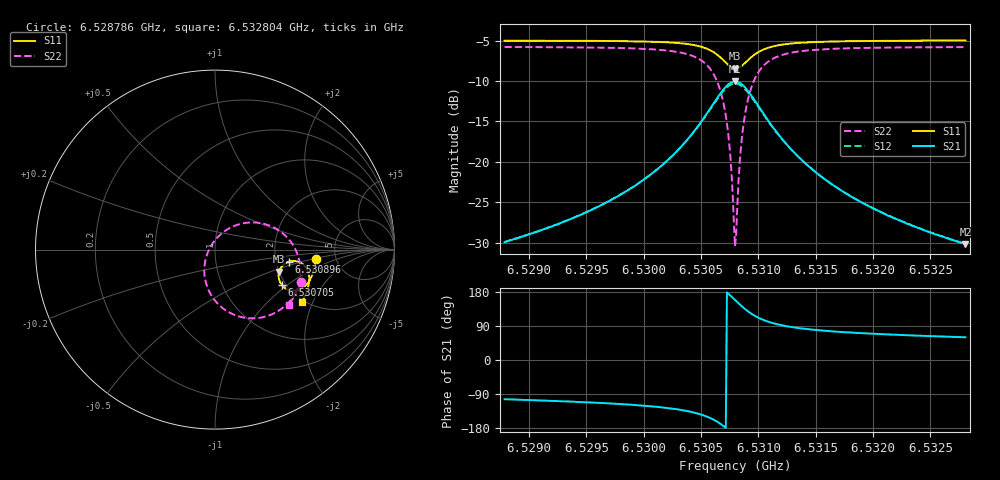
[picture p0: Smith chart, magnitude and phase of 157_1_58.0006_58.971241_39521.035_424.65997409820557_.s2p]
#  HZ  S  RI  R  50.00
! Rohde & Schwarz Vector Network Analyzer
! Rohde-Schwarz,ZNB20-2Port,1311601062101988,3.16
! Created: UTC 3/21/2024, 12:57:16 AM
! freq[Hz]  re:S11  im:S11  re:S21  im:S21  re:S12  im:S12  re:S22  im:S22
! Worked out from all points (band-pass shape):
!   401 points, 6.528786 GHz to 6.532804 GHz, reference 50 ohm
!   highest |S21| = -10.05 dB at 6.530795 GHz (marker M1); lowest = -30.2 dB at 6.532804 GHz (marker M2)
!   |S21| within 3 dB of the highest: 6.530595 GHz to 6.530997 GHz (401.8 kHz wide, 0.00615 % of centre)
!   lowest |S11| = -8.4 dB at 6.530795 GHz (marker M3), VSWR 2.22, Z = 100 - j28.9 ohm
!   |S11| at or under -10 dB: nowhere
!   |S22| runs from -30.4 to -5.8 dB; largest |S21 - S12| = 0.013
!   S11 on the Smith chart (normalised r, x): 6.528786 GHz: 3.49, -0.53; 6.530705 GHz: 1.90, -0.90; 6.530896 GHz: 2.36, -0.38; 6.532804 GHz: 1.95, -1.66
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6.5287859e9  0.5606 -0.0518  -0.00744 -0.031  -0.00815 -0.0309  0.4814 -0.1813
6.529459e9  0.5512 -0.1086  -0.0169 -0.0442  -0.0183 -0.0439  0.4492 -0.2441
6.5298407e9  0.5401 -0.1448  -0.0298 -0.0583  -0.0313 -0.0575  0.4149 -0.2893
6.5301321e9  0.524 -0.1771  -0.0515 -0.0761  -0.0536 -0.0745  0.3654 -0.3334
6.5303631e9  0.4973 -0.2077  -0.092 -0.096  -0.0949 -0.0928  0.2826 -0.3729
6.5305339e9  0.453 -0.2277  -0.1618 -0.1029  -0.1642 -0.0961  0.1537 -0.3776
6.5306344e9  0.407 -0.2228  -0.2331 -0.0763  -0.2323 -0.0662  0.0341 -0.319
6.5307047e9  0.3709 -0.1952  -0.2859 -0.0166  -0.2799 -0.00609  -0.0431 -0.2081
6.5307449e9  0.3571 -0.1669  -0.3024 0.0375  -0.2931 0.0461  -0.0597 -0.1153
6.5307851e9  0.3553 -0.1324  -0.2978 0.0997  -0.2864 0.1044  -0.0398 -0.0146
6.5307951e9  0.3572 -0.1238  -0.2929 0.1148  -0.2814 0.1187  -0.0285 0.00944
6.5308052e9  0.3601 -0.1153  -0.2864 0.1293  -0.2748 0.1324  -0.0151 0.032
6.5308152e9  0.3637 -0.1074  -0.2785 0.1434  -0.267 0.1452  0.000424 0.0531
6.5308353e9  0.3734 -0.0929  -0.2591 0.1681  -0.2483 0.168  0.0368 0.0898
6.5308554e9  0.3853 -0.0811  -0.2362 0.1879  -0.2265 0.1865  0.0781 0.1182
6.5308956e9  0.4128 -0.0668  -0.1863 0.2119  -0.1791 0.2087  0.1649 0.1481
6.5309659e9  0.4571 -0.0657  -0.1089 0.2145  -0.1051 0.2113  0.2948 0.1368
6.5310664e9  0.4961 -0.0875  -0.0424 0.183  -0.0404 0.1812  0.4022 0.0673
6.5312171e9  0.519 -0.1236  -0.00202 0.1355  -0.000702 0.1348  0.4609 -0.0303
6.5314682e9  0.5255 -0.1674  0.0153 0.0885  0.0165 0.0883  0.4754 -0.1294
6.5321414e9  0.5091 -0.2386  0.0178 0.0425  0.0187 0.0423  0.4468 -0.2465
6.5328044e9  0.4847 -0.2895  0.0156 0.0268  0.0161 0.0266  0.4125 -0.3064
